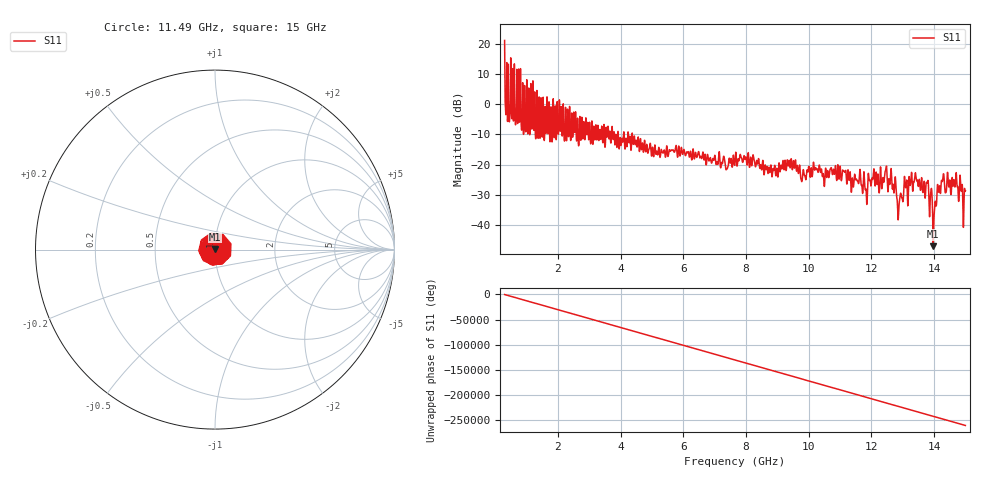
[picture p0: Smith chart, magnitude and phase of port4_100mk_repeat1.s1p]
# GHZ S RI R 50.0
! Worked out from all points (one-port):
!   12801 points, 300 MHz to 15 GHz, reference 50 ohm
!   lowest |S11| = -47.1 dB at 13.97 GHz (marker M1), VSWR 1.01, Z = 49.7 + j0.353 ohm
!   |S11| at or under -10 dB: 3.925 GHz to 4.095 GHz (169.4 MHz wide, 4.23 % of centre); 4.111 GHz to 4.231 GHz (119.2 MHz wide, 2.86 % of centre); 4.376 GHz to end of sweep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
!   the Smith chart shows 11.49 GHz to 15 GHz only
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0.3  -10.43 -4.707
0.3746484  1.547 -1.284
0.3780938  -0.3297 -1.243
0.4182891  -3.096 -3.429
0.4240313  0.3893 1.624
0.4917891  -1.531 3.024
0.7490391  -0.0414 1.389
0.9075234  -0.2071 -0.2457
2.1375  0.221 0.1996
3.975  -0.0323 -0.2386
5.8125  -0.0823 0.1063
7.65  0.0412 -0.0992
8.963812  0.00217 0.0693
9.4875  -0.0841 -0.0113
9.810211  -0.0648 0.0232
10.20872  0.054 -0.0672
11.325  0.0479 0.0571
11.8039  -0.0315 0.0219
12.43324  -0.0589 0.0441
12.69738  -0.0411 -0.0218
12.87424  -0.0122 -0.0127
13.1625  -0.00256 0.0206
13.74935  -0.0484 -0.0117
13.971  -0.00265 0.00355
14.02153  0.00737 -0.0187
14.27648  -0.0159 0.0541
14.64858  0.0353 0.0308
15  0.0349 -0.0114
